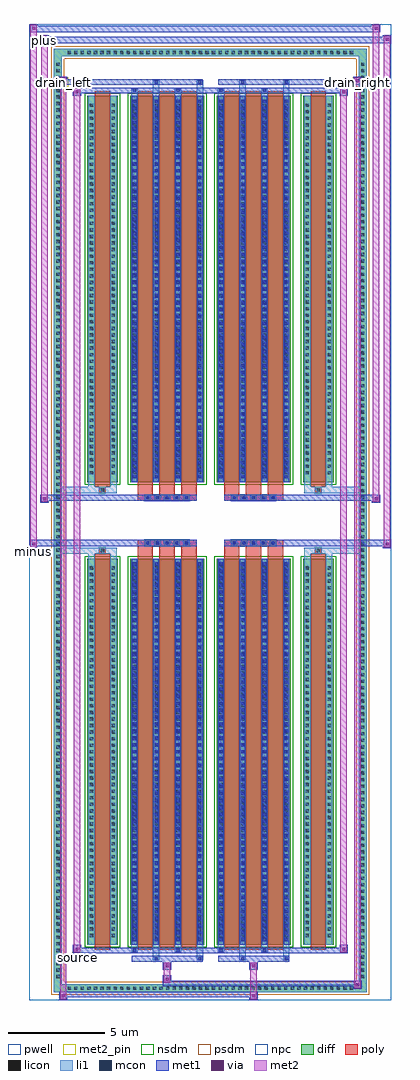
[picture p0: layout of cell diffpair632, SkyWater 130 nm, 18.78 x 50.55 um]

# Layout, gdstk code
import gdstk
lib = gdstk.Library(unit=1e-6, precision=5e-09)
def R(c, l, rs):  # rectangles x0, y0, x1, y1
    for r in rs: c.add(gdstk.rectangle(r[:2], r[2:], *l))
def A(c, l, x, y, w, h, nx, ny, dx, dy):  # array of equal rectangles
    R(c, l, [(x+i*dx, y+j*dy, x+i*dx+w, y+j*dy+h) for i in range(nx) for j in range(ny)])
def P(c, l, *ps):  # polygons
    for p in ps: c.add(gdstk.Polygon(p, *l))
pwell = (64, 44)
diff = (65, 20)
poly = (66, 20)
licon = (66, 44)
li1 = (67, 20)
mcon = (67, 44)
met1 = (68, 20)
via = (68, 44)
met2_pin = (69, 16)
met2 = (69, 20)
nsdm = (93, 44)
psdm = (94, 20)
npc = (95, 20)

diffpair632 = lib.new_cell('diffpair632')
R(diffpair632, pwell, [(-9.37,-24.84,9.37,25.71), (-6.69,-23.03,-0.01,-0.805), (0.01,-23.03,6.69,-0.805), (-6.69,0.805,-0.01,23.03), (0.01,0.805,6.69,23.03)])
A(diffpair632, diff, -7.515, -24.44, 0.41, 0.41, 44, 2, 0.34, 48.47)
A(diffpair632, diff, -8.1, -23.835, 0.41, 0.41, 1, 140, 0, 0.34)
A(diffpair632, diff, 7.69, -23.835, 0.41, 0.41, 1, 140, 0, 0.34)
R(diffpair632, diff, [(-7.515,-24.44,7.515,-24.03), (-8.1,-23.835,-7.69,23.835), (7.69,-23.835,8.1,23.835), (-6.38,-21.985,-4.8,-1.985), (-4.16,-21.985,-0.32,-1.985), (0.32,-21.985,4.16,-1.985), (4.8,-21.985,6.38,-1.985), (-6.38,1.985,-4.8,21.985), (-4.16,1.985,-0.32,21.985), (0.32,1.985,4.16,21.985), (4.8,1.985,6.38,21.985), (-7.515,24.03,7.515,24.44)])
P(diffpair632, diff, [(8.1,24.44),(-8.1,24.44),(-8.1,-24.03),(-7.69,-24.03),(-7.69,24.03),(7.69,24.03),(7.69,-24.03),(-7.69,-24.03),(-8.1,-24.03),(-8.1,-24.44),(8.1,-24.44)])
A(diffpair632, poly, -3.77, -22.235, 0.8, 20.5, 3, 2, 1.13, 23.97)
A(diffpair632, poly, 0.71, -22.235, 0.8, 20.5, 3, 2, 1.13, 23.97)
A(diffpair632, poly, -3.77, -1.735, 0.8, 0.4, 3, 2, 1.13, 3.07)
A(diffpair632, poly, 0.71, -1.735, 0.8, 0.4, 3, 2, 1.13, 3.07)
A(diffpair632, poly, -3.405, -1.335, 0.33, 0.33, 5, 2, 0.5, 2.34)
A(diffpair632, poly, 1.075, -1.335, 0.33, 0.33, 5, 2, 0.5, 2.34)
R(diffpair632, poly, [(-5.99,-22.235,-5.19,-1.735), (5.19,-22.235,5.99,-1.735), (-5.755,-1.735,-5.425,-1.405), (-5.755,-1.735,-5.425,-1.405), (5.425,-1.735,5.755,-1.405), (5.425,-1.735,5.755,-1.405), (-3.77,-1.335,-0.71,-1.005), (0.71,-1.335,3.77,-1.005), (-3.77,1.005,-0.71,1.335), (0.71,1.005,3.77,1.335), (-5.755,1.405,-5.425,1.735), (-5.755,1.405,-5.425,1.735), (5.425,1.405,5.755,1.735), (5.425,1.405,5.755,1.735), (-5.99,1.735,-5.19,22.235), (5.19,1.735,5.99,22.235)])
A(diffpair632, licon, -7.395, -24.32, 0.17, 0.17, 44, 2, 0.34, 48.47)
A(diffpair632, licon, -7.98, -23.715, 0.17, 0.17, 1, 140, 0, 0.34)
A(diffpair632, licon, 7.81, -23.715, 0.17, 0.17, 1, 140, 0, 0.34)
A(diffpair632, licon, -6.24, -21.59, 0.17, 0.17, 1, 57, 0, 0.34)
A(diffpair632, licon, -5.11, -21.59, 0.17, 0.17, 1, 57, 0, 0.34)
A(diffpair632, licon, -4.02, -21.59, 0.17, 0.17, 4, 57, 1.13, 0.34)
A(diffpair632, licon, 0.46, -21.59, 0.17, 0.17, 4, 57, 1.13, 0.34)
A(diffpair632, licon, 4.94, -21.59, 0.17, 0.17, 1, 57, 0, 0.34)
A(diffpair632, licon, 6.07, -21.59, 0.17, 0.17, 1, 57, 0, 0.34)
A(diffpair632, licon, -3.325, -1.255, 0.17, 0.17, 5, 2, 0.5, 2.34)
A(diffpair632, licon, 1.155, -1.255, 0.17, 0.17, 5, 2, 0.5, 2.34)
A(diffpair632, licon, -6.24, 2.38, 0.17, 0.17, 1, 57, 0, 0.34)
A(diffpair632, licon, -5.11, 2.38, 0.17, 0.17, 1, 57, 0, 0.34)
A(diffpair632, licon, -4.02, 2.38, 0.17, 0.17, 4, 57, 1.13, 0.34)
A(diffpair632, licon, 0.46, 2.38, 0.17, 0.17, 4, 57, 1.13, 0.34)
A(diffpair632, licon, 4.94, 2.38, 0.17, 0.17, 1, 57, 0, 0.34)
A(diffpair632, licon, 6.07, 2.38, 0.17, 0.17, 1, 57, 0, 0.34)
R(diffpair632, licon, [(-5.675,-1.655,-5.505,-1.485), (5.505,-1.655,5.675,-1.485), (-5.675,1.485,-5.505,1.655), (5.505,1.485,5.675,1.655)])
A(diffpair632, li1, -7.475, -24.4, 0.33, 0.33, 44, 2, 0.34, 48.47)
A(diffpair632, li1, -8.06, -23.795, 0.33, 0.33, 1, 140, 0, 0.34)
A(diffpair632, li1, 7.73, -23.795, 0.33, 0.33, 1, 140, 0, 0.34)
A(diffpair632, li1, -4.1, -21.985, 0.33, 20, 4, 2, 1.13, 23.97)
A(diffpair632, li1, 0.38, -21.985, 0.33, 20, 4, 2, 1.13, 23.97)
A(diffpair632, li1, -4.02, -21.79, 0.17, 0.17, 4, 55, 1.13, 0.36)
A(diffpair632, li1, -4.02, -21.79, 0.17, 19.61, 4, 2, 1.13, 23.97)
A(diffpair632, li1, 0.46, -21.79, 0.17, 0.17, 4, 55, 1.13, 0.36)
A(diffpair632, li1, 0.46, -21.79, 0.17, 19.61, 4, 2, 1.13, 23.97)
A(diffpair632, li1, -6.32, -21.67, 0.33, 0.33, 1, 57, 0, 0.34)
A(diffpair632, li1, -5.19, -21.67, 0.33, 0.33, 1, 57, 0, 0.34)
A(diffpair632, li1, -4.1, -21.67, 0.33, 0.33, 4, 57, 1.13, 0.34)
A(diffpair632, li1, 0.38, -21.67, 0.33, 0.33, 4, 57, 1.13, 0.34)
A(diffpair632, li1, 4.86, -21.67, 0.33, 0.33, 1, 57, 0, 0.34)
A(diffpair632, li1, 5.99, -21.67, 0.33, 0.33, 1, 57, 0, 0.34)
A(diffpair632, li1, -3.405, -1.335, 0.33, 0.33, 5, 2, 0.5, 2.34)
A(diffpair632, li1, 1.075, -1.335, 0.33, 0.33, 5, 2, 0.5, 2.34)
A(diffpair632, li1, -4.02, 2.18, 0.17, 0.17, 4, 55, 1.13, 0.36)
A(diffpair632, li1, 0.46, 2.18, 0.17, 0.17, 4, 55, 1.13, 0.36)
A(diffpair632, li1, -6.32, 2.3, 0.33, 0.33, 1, 57, 0, 0.34)
A(diffpair632, li1, -5.19, 2.3, 0.33, 0.33, 1, 57, 0, 0.34)
A(diffpair632, li1, -4.1, 2.3, 0.33, 0.33, 4, 57, 1.13, 0.34)
A(diffpair632, li1, 0.38, 2.3, 0.33, 0.33, 4, 57, 1.13, 0.34)
A(diffpair632, li1, 4.86, 2.3, 0.33, 0.33, 1, 57, 0, 0.34)
A(diffpair632, li1, 5.99, 2.3, 0.33, 0.33, 1, 57, 0, 0.34)
R(diffpair632, li1, [(-8.1,-24.44,-7.69,-24.03), (-8.1,-24.44,-7.69,-24.03), (-7.69,-24.44,7.69,-24.03), (7.69,-24.44,8.1,-24.03), (7.69,-24.44,8.1,-24.03), (-8.1,-24.03,-7.69,24.03), (7.69,-24.03,8.1,24.03), (-2.97,-22.79,-2.64,-21.985), (-2.89,-22.79,-2.72,-22.62), (-0.71,-22.79,-0.38,-21.985), (-0.63,-22.79,-0.46,-22.62), (1.51,-22.79,1.84,-21.985), (1.59,-22.79,1.76,-22.62), (3.77,-22.79,4.1,-21.985), (3.85,-22.79,4.02,-22.62), (-4.1,-22.36,-3.77,-21.985), (-4.02,-22.36,-3.85,-22.19), (-1.84,-22.36,-1.51,-21.985), (-1.76,-22.36,-1.59,-22.19), (0.38,-22.36,0.71,-21.985), (0.46,-22.36,0.63,-22.19), (2.64,-22.36,2.97,-21.985), (2.72,-22.36,2.89,-22.19), (-6.32,-21.985,-5.99,-1.985), (-5.19,-21.985,-4.86,-1.985), (4.86,-21.985,5.19,-1.985), (5.99,-21.985,6.32,-1.985), (-6.32,-1.985,-5.99,-1.405), (-5.19,-1.985,-4.86,-1.405), (4.86,-1.985,5.19,-1.405), (5.99,-1.985,6.32,-1.405), (-8.1,-1.735,-5.755,-1.405), (-6.32,-1.735,-5.755,-1.405), (-5.755,-1.735,-5.425,-1.405), (-5.425,-1.735,-4.86,-1.405), (4.86,-1.735,5.425,-1.405), (5.425,-1.735,5.755,-1.405), (5.425,-1.735,8.1,-1.405), (5.755,-1.735,6.32,-1.405), (-8.1,1.405,-5.755,1.735), (-6.32,1.405,-5.755,1.735), (-6.32,1.405,-5.99,1.985), (-5.755,1.405,-5.425,1.735), (-5.425,1.405,-4.86,1.735), (-5.19,1.405,-4.86,1.985), (4.86,1.405,5.425,1.735), (4.86,1.405,5.19,1.985), (5.425,1.405,5.755,1.735), (5.425,1.405,8.1,1.735), (5.755,1.405,6.32,1.735), (5.99,1.405,6.32,1.985), (-6.32,1.985,-5.99,21.985), (-5.19,1.985,-4.86,21.985), (4.86,1.985,5.19,21.985), (5.99,1.985,6.32,21.985), (-4.1,21.985,-3.77,22.36), (-2.97,21.985,-2.64,22.79), (-1.84,21.985,-1.51,22.36), (-0.71,21.985,-0.38,22.79), (0.38,21.985,0.71,22.36), (1.51,21.985,1.84,22.79), (2.64,21.985,2.97,22.36), (3.77,21.985,4.1,22.79), (-4.02,22.19,-3.85,22.36), (-1.76,22.19,-1.59,22.36), (0.46,22.19,0.63,22.36), (2.72,22.19,2.89,22.36), (-2.89,22.62,-2.72,22.79), (-0.63,22.62,-0.46,22.79), (1.59,22.62,1.76,22.79), (3.85,22.62,4.02,22.79), (-8.1,24.03,-7.69,24.44), (-8.1,24.03,-7.69,24.44), (-7.69,24.03,7.69,24.44), (7.69,24.03,8.1,24.44), (7.69,24.03,8.1,24.44)])
A(diffpair632, mcon, -4.02, -21.79, 0.17, 0.17, 4, 55, 1.13, 0.36)
A(diffpair632, mcon, 0.46, -21.79, 0.17, 0.17, 4, 55, 1.13, 0.36)
A(diffpair632, mcon, -3.325, -1.255, 0.17, 0.17, 5, 2, 0.5, 2.34)
A(diffpair632, mcon, 1.155, -1.255, 0.17, 0.17, 5, 2, 0.5, 2.34)
A(diffpair632, mcon, -4.02, 2.18, 0.17, 0.17, 4, 55, 1.13, 0.36)
A(diffpair632, mcon, 0.46, 2.18, 0.17, 0.17, 4, 55, 1.13, 0.36)
R(diffpair632, mcon, [(-2.89,-22.79,-2.72,-22.62), (-0.63,-22.79,-0.46,-22.62), (1.59,-22.79,1.76,-22.62), (3.85,-22.79,4.02,-22.62), (-4.02,-22.36,-3.85,-22.19), (-1.76,-22.36,-1.59,-22.19), (0.46,-22.36,0.63,-22.19), (2.72,-22.36,2.89,-22.19), (-4.02,22.19,-3.85,22.36), (-1.76,22.19,-1.59,22.36), (0.46,22.19,0.63,22.36), (2.72,22.19,2.89,22.36), (-2.89,22.62,-2.72,22.79), (-0.63,22.62,-0.46,22.79), (1.59,22.62,1.76,22.79), (3.85,22.62,4.02,22.79)])
A(diffpair632, met1, -4.08, -21.985, 0.29, 20, 4, 2, 1.13, 23.97)
A(diffpair632, met1, 0.4, -21.985, 0.29, 20, 4, 2, 1.13, 23.97)
A(diffpair632, met1, -4.08, -21.85, 0.29, 0.29, 4, 55, 1.13, 0.36)
A(diffpair632, met1, 0.4, -21.85, 0.29, 0.29, 4, 55, 1.13, 0.36)
A(diffpair632, met1, -3.385, -1.315, 0.29, 0.29, 5, 2, 0.5, 2.34)
A(diffpair632, met1, 1.095, -1.315, 0.29, 0.29, 5, 2, 0.5, 2.34)
A(diffpair632, met1, -4.08, 2.12, 0.29, 0.29, 4, 55, 1.13, 0.36)
A(diffpair632, met1, 0.4, 2.12, 0.29, 0.29, 4, 55, 1.13, 0.36)
R(diffpair632, met1, [(-7.83,-24.84,-7.4,-24.41), (2.025,-24.84,2.455,-24.41), (-7.83,-24.7,2.455,-24.41), (7.4,-24.27,7.83,-23.84), (-2.455,-24.13,7.83,-23.84), (-2.455,-23.99,-2.025,-23.56), (-2.455,-23.28,-2.025,-22.85), (2.025,-23.28,2.455,-22.85), (-4.08,-22.85,-0.4,-22.56), (-2.95,-22.85,-2.66,-22.56), (-0.69,-22.85,-0.4,-22.56), (0.4,-22.85,4.08,-22.56), (1.53,-22.85,1.82,-22.56), (3.79,-22.85,4.08,-22.56), (-7.12,-22.42,-6.69,-21.99), (-7.12,-22.42,-4.08,-22.13), (-4.08,-22.42,-3.79,-22.13), (-4.08,-22.42,-0.4,-22.13), (-1.82,-22.42,-1.53,-22.13), (-0.4,-22.42,0.4,-22.13), (0.4,-22.42,0.69,-22.13), (0.4,-22.42,4.08,-22.13), (2.66,-22.42,2.95,-22.13), (4.08,-22.42,7.12,-22.13), (6.69,-22.42,7.12,-21.99), (-9.37,-1.435,-8.94,-1.005), (8.94,-1.435,9.37,-1.005), (-9.37,-1.335,-0.71,-1.005), (-3.77,-1.335,-0.71,-1.005), (0.71,-1.335,3.77,-1.005), (0.71,-1.335,9.37,-1.005), (-8.8,0.905,-8.37,1.335), (8.37,0.905,8.8,1.335), (-8.8,1.005,-3.77,1.335), (-3.77,1.005,-0.71,1.335), (0.71,1.005,3.77,1.335), (3.77,1.005,8.8,1.335), (-7.12,21.99,-6.69,22.42), (6.69,21.99,7.12,22.42), (-7.12,22.13,-4.08,22.42), (-4.08,22.13,-3.79,22.42), (-4.08,22.13,-0.4,22.42), (-1.82,22.13,-1.53,22.42), (-0.4,22.13,0.4,22.42), (0.4,22.13,0.69,22.42), (0.4,22.13,4.08,22.42), (2.66,22.13,2.95,22.42), (4.08,22.13,7.12,22.42), (-7.83,22.56,-7.4,22.99), (-7.83,22.56,-4.08,22.85), (-4.08,22.56,-0.4,22.85), (-2.95,22.56,-2.66,22.85), (-0.69,22.56,-0.4,22.85), (0.4,22.56,4.08,22.85), (1.53,22.56,1.82,22.85), (3.79,22.56,4.08,22.85), (4.08,22.56,7.83,22.85), (7.4,22.56,7.83,22.99), (-8.8,24.71,-8.37,25.14), (-8.8,24.71,-6.69,25.04), (-6.69,24.71,6.69,25.04), (6.69,24.71,9.37,25.04), (8.94,24.71,9.37,25.14), (-9.37,25.28,-8.94,25.71), (-9.37,25.28,-6.69,25.61), (-6.69,25.28,6.69,25.61), (6.69,25.28,8.8,25.61), (8.37,25.28,8.8,25.71)])
R(diffpair632, via, [(-7.69,-24.7,-7.54,-24.55), (2.165,-24.7,2.315,-24.55), (7.54,-24.13,7.69,-23.98), (-2.315,-23.85,-2.165,-23.7), (-2.315,-23.14,-2.165,-22.99), (2.165,-23.14,2.315,-22.99), (-6.98,-22.28,-6.83,-22.13), (6.83,-22.28,6.98,-22.13), (-9.23,-1.295,-9.08,-1.145), (9.08,-1.295,9.23,-1.145), (-8.66,1.045,-8.51,1.195), (8.51,1.045,8.66,1.195), (-6.98,22.13,-6.83,22.28), (6.83,22.13,6.98,22.28), (-7.69,22.7,-7.54,22.85), (7.54,22.7,7.69,22.85), (-8.66,24.85,-8.51,25), (9.08,24.85,9.23,25), (-9.23,25.42,-9.08,25.57), (8.51,25.42,8.66,25.57)])
R(diffpair632, met2_pin, [(-7.155,-22.87,-6.655,-22.37), (-9.405,-1.885,-8.905,-1.385), (-7.865,22.44,-7.365,22.94), (7.365,22.44,7.865,22.94), (-8.835,24.59,-8.335,25.09)])
R(diffpair632, met2, [(-7.78,-24.79,-7.45,-24.46), (-7.78,-24.79,-7.45,22.94), (2.075,-24.79,2.405,-24.46), (2.075,-24.46,2.405,-23.23), (7.45,-24.22,7.78,-23.89), (7.45,-24.22,7.78,22.94), (-2.405,-23.94,-2.075,-23.61), (-2.405,-23.61,-2.075,-23.23), (-2.405,-23.23,-2.075,-22.9), (2.075,-23.23,2.405,-22.9), (-7.07,-22.37,-6.74,-22.04), (-7.07,-22.37,-6.74,22.37), (6.74,-22.37,7.07,-22.04), (6.74,-22.37,7.07,22.37), (-9.32,-1.385,-8.99,-1.055), (-9.32,-1.385,-8.99,25.66), (8.99,-1.385,9.32,-1.055), (8.99,-1.385,9.32,25.09), (-8.75,0.955,-8.42,1.285), (-8.75,0.955,-8.42,25.09), (8.42,0.955,8.75,1.285), (8.42,0.955,8.75,25.66), (-7.07,22.04,-6.74,22.37), (6.74,22.04,7.07,22.37), (-7.78,22.61,-7.45,22.94), (7.45,22.61,7.78,22.94), (-8.75,24.76,-8.42,25.09), (8.99,24.76,9.32,25.09), (-9.32,25.33,-8.99,25.66), (8.42,25.33,8.75,25.66)])
P(diffpair632, met2, [(9.32,-1.385),(9.32,-1.385),(9.32,-1.055),(9.32,-1.055)],
  [(9.32,24.76),(9.32,24.76),(9.32,25.09),(9.32,25.09)],
  [(-8.99,-1.385),(-8.99,-1.385),(-8.99,-1.055),(-8.99,-1.055)],
  [(-8.99,25.33),(-8.99,25.33),(-8.99,25.66),(-8.99,25.66)],
  [(8.75,0.955),(8.75,0.955),(8.75,1.285),(8.75,1.285)],
  [(8.75,25.33),(8.75,25.33),(8.75,25.66),(8.75,25.66)],
  [(-8.42,0.955),(-8.42,0.955),(-8.42,1.285),(-8.42,1.285)],
  [(-8.42,24.76),(-8.42,24.76),(-8.42,25.09),(-8.42,25.09)],
  [(-7.45,-24.79),(-7.45,-24.79),(-7.45,-24.46),(-7.45,-24.46)],
  [(-7.45,22.61),(-7.45,22.61),(-7.45,22.94),(-7.45,22.94)],
  [(7.78,-24.22),(7.78,-24.22),(7.78,-23.89),(7.78,-23.89)],
  [(7.78,22.61),(7.78,22.61),(7.78,22.94),(7.78,22.94)],
  [(-6.74,-22.37),(-6.74,-22.37),(-6.74,-22.04),(-6.74,-22.04)],
  [(-6.74,22.04),(-6.74,22.04),(-6.74,22.37),(-6.74,22.37)],
  [(7.07,-22.37),(7.07,-22.37),(7.07,-22.04),(7.07,-22.04)],
  [(7.07,22.04),(7.07,22.04),(7.07,22.37),(7.07,22.37)])
R(diffpair632, nsdm, [(-6.51,-22.115,-4.67,-1.855), (-4.29,-22.115,-0.19,-1.855), (0.19,-22.115,4.29,-1.855), (4.67,-22.115,6.51,-1.855), (-6.51,1.855,-4.67,22.115), (-4.29,1.855,-0.19,22.115), (0.19,1.855,4.29,22.115), (4.67,1.855,6.51,22.115)])
P(diffpair632, psdm, [(8.23,24.57),(-8.23,24.57),(-8.23,-23.9),(-7.56,-23.9),(-7.56,23.9),(7.56,23.9),(7.56,-23.9),(-7.56,-23.9),(-8.23,-23.9),(-8.23,-24.57),(8.23,-24.57)])
A(diffpair632, npc, -3.425, -1.355, 0.37, 0.37, 5, 2, 0.5, 2.34)
A(diffpair632, npc, 1.055, -1.355, 0.37, 0.37, 5, 2, 0.5, 2.34)
R(diffpair632, npc, [(-5.775,-1.755,-5.405,-1.385), (5.405,-1.755,5.775,-1.385), (-3.425,-1.355,-2.555,-0.985), (-3.425,-1.355,-2.555,-0.985), (-2.925,-1.355,-2.055,-0.985), (-2.925,-1.355,-2.055,-0.985), (-2.425,-1.355,-1.555,-0.985), (-2.425,-1.355,-1.555,-0.985), (-1.925,-1.355,-1.055,-0.985), (-1.925,-1.355,-1.055,-0.985), (1.055,-1.355,1.925,-0.985), (1.055,-1.355,1.925,-0.985), (1.555,-1.355,2.425,-0.985), (1.555,-1.355,2.425,-0.985), (2.055,-1.355,2.925,-0.985), (2.055,-1.355,2.925,-0.985), (2.555,-1.355,3.425,-0.985), (2.555,-1.355,3.425,-0.985), (-3.425,0.985,-2.555,1.355), (-3.425,0.985,-2.555,1.355), (-2.925,0.985,-2.055,1.355), (-2.925,0.985,-2.055,1.355), (-2.425,0.985,-1.555,1.355), (-2.425,0.985,-1.555,1.355), (-1.925,0.985,-1.055,1.355), (-1.925,0.985,-1.055,1.355), (1.055,0.985,1.925,1.355), (1.055,0.985,1.925,1.355), (1.555,0.985,2.425,1.355), (1.555,0.985,2.425,1.355), (2.055,0.985,2.925,1.355), (2.055,0.985,2.925,1.355), (2.555,0.985,3.425,1.355), (2.555,0.985,3.425,1.355), (-5.775,1.385,-5.405,1.755), (5.405,1.385,5.775,1.755)])
diffpair632.add(gdstk.Label('minus', (-9.155,-1.635), layer=69, texttype=5))
diffpair632.add(gdstk.Label('drain_right', (7.615,22.69), layer=69, texttype=5))
diffpair632.add(gdstk.Label('drain_left', (-7.615,22.69), layer=69, texttype=5))
diffpair632.add(gdstk.Label('source', (-6.905,-22.62), layer=69, texttype=5))
diffpair632.add(gdstk.Label('plus', (-8.585,24.84), layer=69, texttype=5))

lib.write_gds('diffpair632.gds')
